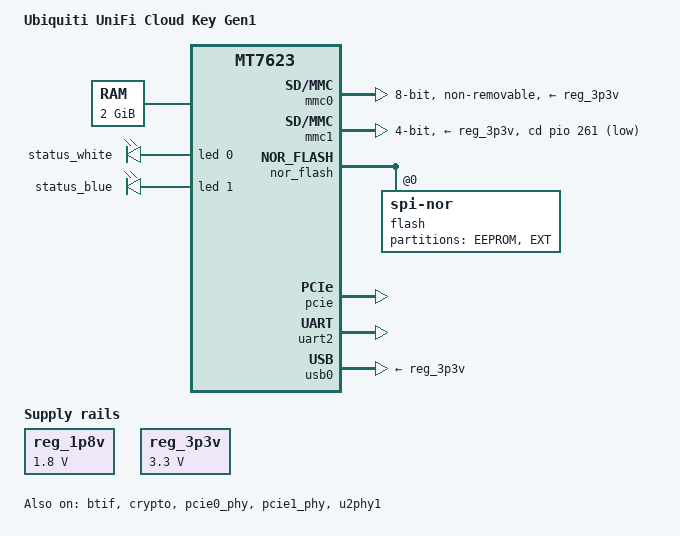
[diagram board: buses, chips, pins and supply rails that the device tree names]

// SPDX-License-Identifier: (GPL-2.0-or-later OR MIT)
/*
 * Copyright 2018 Kristian Evensen <kristian.evensen@gmail.com>
 * Copyright 2025 Lech Perczak <lech.perczak@gmail.com>
 */

/dts-v1/;
#include <dt-bindings/input/input.h>
#include <dt-bindings/gpio/gpio.h>
#include <dt-bindings/leds/common.h>
#include <dt-bindings/power/mt7623a-power.h>
#include "mt7623a.dtsi"
#include "mt6323.dtsi"

/ {
	model = "Ubiquiti UniFi Cloud Key Gen1";
	compatible = "ubnt,unifi-cloud-key-gen1", "mediatek,mt7623";

	chosen {
		bootargs = "earlycon=uart8250,mmio32,0x11004000 console=ttyS0,115200";
		stdout-path = "serial0:115200n8";
	};

	aliases {
		serial0 = &uart2;
		ethernet0 = &gmac0;
		mmc0 = &mmc0;
		mmc1 = &mmc1;
		led-boot = &status_white;
		led-failsafe = &status_blue;
		led-running = &status_white;
		led-upgrade = &status_blue;
	};

	cpus {
		cpu@0 {
			proc-supply = <&mt6323_vproc_reg>;
		};

		cpu@1 {
			proc-supply = <&mt6323_vproc_reg>;
		};

		cpu@2 {
			proc-supply = <&mt6323_vproc_reg>;
		};

		cpu@3 {
			proc-supply = <&mt6323_vproc_reg>;
		};
	};

	memory@80000000 {
		device_type = "memory";
		reg = <0 0x80000000 0 0x80000000>;
	};

	reg_1p8v: regulator-1p8v {
		compatible = "regulator-fixed";
		regulator-name = "fixed-1.8V";
		regulator-min-microvolt = <1800000>;
		regulator-max-microvolt = <1800000>;
		regulator-boot-on;
		regulator-always-on;
	};

	reg_3p3v: regulator-3p3v {
		compatible = "regulator-fixed";
		regulator-name = "fixed-3.3V";
		regulator-min-microvolt = <3300000>;
		regulator-max-microvolt = <3300000>;
		regulator-boot-on;
		regulator-always-on;
	};

	gpio-keys {
		compatible = "gpio-keys";
		pinctrl-names = "default";
		pinctrl-0 = <&key_pins_a>;
		status = "disabled";

		reset {
			label = "reset";
			linux,code = <KEY_RESTART>;
			gpios = <&pio 256 GPIO_ACTIVE_LOW>;
		};
	};
};

&btif {
	status = "okay";
};

&crypto {
	status = "okay";
};

&gmac0 {
	nvmem-cells = <&macaddr_eeprom_0 0>;
	nvmem-cell-names = "mac-address";
};

&gmac1 {
	status = "disabled";
};

&mmc0 {
	pinctrl-names = "default", "state_uhs";
	pinctrl-0 = <&mmc0_pins_default>;
	pinctrl-1 = <&mmc0_pins_uhs>;
	status = "okay";
	bus-width = <8>;
	max-frequency = <50000000>;
	cap-mmc-highspeed;
	vmmc-supply = <&reg_3p3v>;
	vqmmc-supply = <&reg_1p8v>;
	non-removable;
};

&mmc1 {
	pinctrl-names = "default", "state_uhs";
	pinctrl-0 = <&mmc1_pins_default>;
	pinctrl-1 = <&mmc1_pins_uhs>;
	status = "okay";
	bus-width = <4>;
	max-frequency = <50000000>;
	cap-sd-highspeed;
	cd-gpios = <&pio 261 GPIO_ACTIVE_LOW>;
	vmmc-supply = <&reg_3p3v>;
	vqmmc-supply = <&reg_3p3v>;
};

&mt6323keys {
	status = "disabled";
	mediatek,long-press-mode = <0>;
};

&nor_flash {
	status = "okay";

	flash@0 {
		compatible = "jedec,spi-nor";
		reg = <0>;

		partitions {
			compatible = "fixed-partitions";
			#address-cells = <1>;
			#size-cells = <1>;

			partition@0 {
				reg = <0x0 0x10000>;
				label = "EEPROM";
				read-only;

				nvmem-layout {
					compatible = "fixed-layout";
					#address-cells = <1>;
					#size-cells = <1>;

					macaddr_eeprom_0: macaddr@0 {
						compatible = "mac-base";
						reg = <0x0 0x6>;
						#nvmem-cell-cells = <1>;
					};
				};
			};

			partition@10000 {
				reg = <0x10000 0xf0000>;
				label = "EXT";
				read-only;
			};
		};
	};
};

&pcie {
	pinctrl-names = "default";
	pinctrl-0 = <&pcie_default>;
	power-domains = <&scpsys MT7623A_POWER_DOMAIN_HIF>;
	status = "okay";

	pcie@0,0 {
		status = "okay";
	};

	pcie@1,0 {
		status = "okay";
	};
};

&pcie0_phy {
	status = "okay";
};

&pcie1_phy {
	status = "okay";
};

&pwrap {
	mt6323 {
		led {
			compatible = "mediatek,mt6323-led";
			#address-cells = <1>;
			#size-cells = <0>;

			status_white: led@0 {
				reg = <0>;
				color = <LED_COLOR_ID_WHITE>;
				function = LED_FUNCTION_STATUS;
			};

			status_blue: led@1 {
				reg = <1>;
				color = <LED_COLOR_ID_BLUE>;
				function = LED_FUNCTION_STATUS;
			};
		};
	};
};

&switch0 {
	ports {
		port@4 {
			status = "okay";
			label = "lan";
		};

		port@5 {
			status = "disabled";
		};
	};
};

&uart2 {
	pinctrl-names = "default";
	pinctrl-0 = <&uart2_pins_b>;
	status = "okay";
};

&usb0 {
	status = "okay";
	vusb33-supply = <&reg_3p3v>;
	vbus-supply = <&reg_3p3v>;
};

&u2phy1 {
	status = "okay";
};
